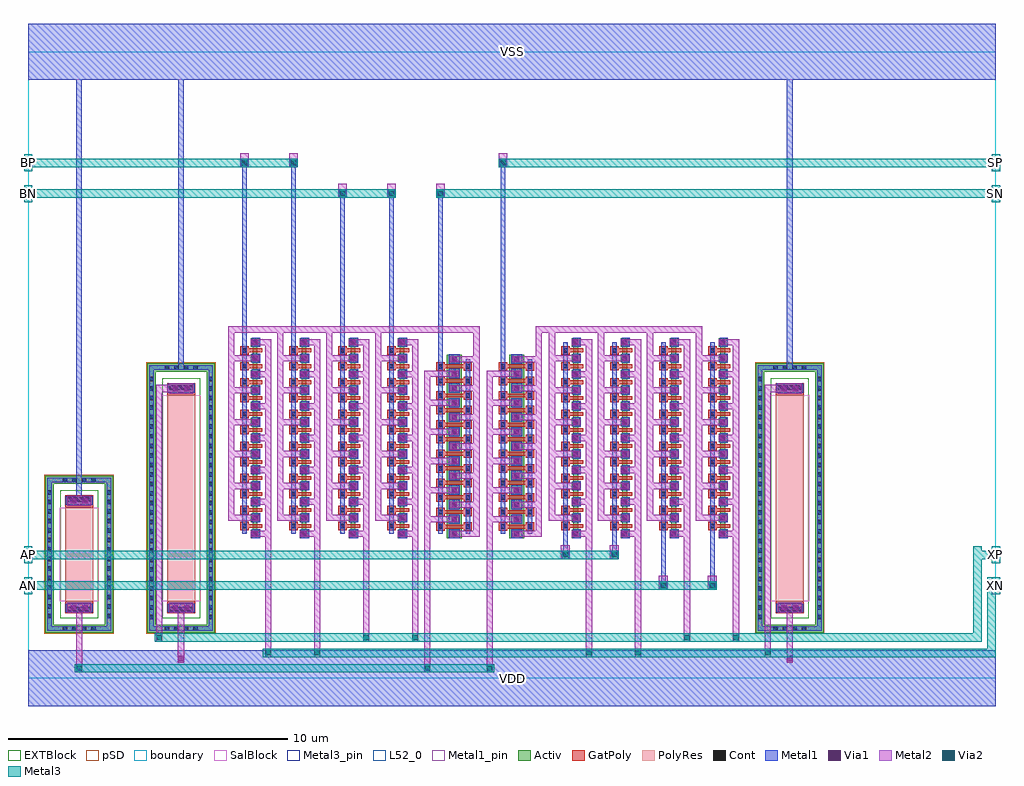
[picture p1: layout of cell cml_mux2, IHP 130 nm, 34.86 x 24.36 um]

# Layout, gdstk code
from math import pi, radians
import gdstk
lib = gdstk.Library(unit=1e-6, precision=1e-09)
def R(c, l, rs):  # rectangles x0, y0, x1, y1
    for r in rs: c.add(gdstk.rectangle(r[:2], r[2:], *l))
def A(c, l, x, y, w, h, nx, ny, dx, dy):  # array of equal rectangles
    R(c, l, [(x+i*dx, y+j*dy, x+i*dx+w, y+j*dy+h) for i in range(nx) for j in range(ny)])
Activ = (1, 0)
GatPoly = (5, 0)
Cont = (6, 0)
Metal1 = (8, 0)
Metal1_pin = (8, 2)
Metal2 = (10, 0)
pSD = (14, 0)
Via1 = (19, 0)
SalBlock = (28, 0)
Via2 = (29, 0)
Metal3 = (30, 0)
Metal3_pin = (30, 2)
L52_0 = (52, 0)
EXTBlock = (111, 0)
PolyRes = (128, 0)
boundary = (189, 4)

sg13_lv_nmos_gs4qvz = lib.new_cell('sg13_lv_nmos_GS4QVZ')
A(sg13_lv_nmos_gs4qvz, Activ, -3.57, -0.02, 0.3, 0.065, 13, 2, 0.57, 0.235)
R(sg13_lv_nmos_gs4qvz, Activ, [(-3.57,0.045,3.57,0.215)])
A(sg13_lv_nmos_gs4qvz, GatPoly, -3.285, -0.39, 0.3, 0.3, 12, 1, 0.57, 0)
A(sg13_lv_nmos_gs4qvz, GatPoly, -3.2, -0.09, 0.13, 0.485, 12, 1, 0.57, 0)
A(sg13_lv_nmos_gs4qvz, Cont, -3.215, -0.32, 0.16, 0.16, 12, 1, 0.57, 0)
A(sg13_lv_nmos_gs4qvz, Cont, -3.5, 0.05, 0.16, 0.16, 13, 1, 0.57, 0)
A(sg13_lv_nmos_gs4qvz, Metal1, -3.55, 0.05, 0.26, 0.16, 13, 1, 0.57, 0)
R(sg13_lv_nmos_gs4qvz, Metal1, [(-3.42,-0.32,3.42,-0.16)])
sg13_lv_nmos_gs4qvz.add(gdstk.Label('G', (3.135,-0.24), layer=8, texttype=25))
sg13_lv_nmos_gs4qvz.add(gdstk.Label('G', (2.565,-0.24), layer=8, texttype=25))
sg13_lv_nmos_gs4qvz.add(gdstk.Label('G', (1.995,-0.24), layer=8, texttype=25))
sg13_lv_nmos_gs4qvz.add(gdstk.Label('G', (1.425,-0.24), layer=8, texttype=25))
sg13_lv_nmos_gs4qvz.add(gdstk.Label('G', (0.855,-0.24), layer=8, texttype=25))
sg13_lv_nmos_gs4qvz.add(gdstk.Label('G', (0.285,-0.24), layer=8, texttype=25))
sg13_lv_nmos_gs4qvz.add(gdstk.Label('G', (-0.285,-0.24), layer=8, texttype=25))
sg13_lv_nmos_gs4qvz.add(gdstk.Label('G', (-0.855,-0.24), layer=8, texttype=25))
sg13_lv_nmos_gs4qvz.add(gdstk.Label('G', (-1.425,-0.24), layer=8, texttype=25))
sg13_lv_nmos_gs4qvz.add(gdstk.Label('G', (-1.995,-0.24), layer=8, texttype=25))
sg13_lv_nmos_gs4qvz.add(gdstk.Label('G', (-2.565,-0.24), layer=8, texttype=25))
sg13_lv_nmos_gs4qvz.add(gdstk.Label('G', (-3.135,-0.24), layer=8, texttype=25))
sg13_lv_nmos_gs4qvz.add(gdstk.Label('D0', (-3.42,0.13), layer=8, texttype=25))
sg13_lv_nmos_gs4qvz.add(gdstk.Label('S1', (-2.85,0.13), layer=8, texttype=25))
sg13_lv_nmos_gs4qvz.add(gdstk.Label('D2', (-2.28,0.13), layer=8, texttype=25))
sg13_lv_nmos_gs4qvz.add(gdstk.Label('S3', (-1.71,0.13), layer=8, texttype=25))
sg13_lv_nmos_gs4qvz.add(gdstk.Label('D4', (-1.14,0.13), layer=8, texttype=25))
sg13_lv_nmos_gs4qvz.add(gdstk.Label('S5', (-0.57,0.13), layer=8, texttype=25))
sg13_lv_nmos_gs4qvz.add(gdstk.Label('D6', (0,0.13), layer=8, texttype=25))
sg13_lv_nmos_gs4qvz.add(gdstk.Label('S7', (0.57,0.13), layer=8, texttype=25))
sg13_lv_nmos_gs4qvz.add(gdstk.Label('D8', (1.14,0.13), layer=8, texttype=25))
sg13_lv_nmos_gs4qvz.add(gdstk.Label('S9', (1.71,0.13), layer=8, texttype=25))
sg13_lv_nmos_gs4qvz.add(gdstk.Label('D10', (2.28,0.13), layer=8, texttype=25))
sg13_lv_nmos_gs4qvz.add(gdstk.Label('S11', (2.85,0.13), layer=8, texttype=25))

rppd_xr79a4 = lib.new_cell('rppd_XR79A4')
R(rppd_xr79a4, Activ, [(-1.21,-4.815,1.21,-4.515), (-1.21,-4.515,-0.91,4.515), (0.91,-4.515,1.21,4.515), (-1.21,4.515,1.21,4.815)])
R(rppd_xr79a4, GatPoly, [(-0.5,-4.105,0.5,-3.675), (-0.5,3.675,0.5,4.105)])
A(rppd_xr79a4, Cont, -0.59, -4.745, 0.16, 0.16, 4, 2, 0.34, 9.33)
A(rppd_xr79a4, Cont, -1.14, -4.33, 0.16, 0.16, 1, 26, 0, 0.34)
A(rppd_xr79a4, Cont, 0.98, -4.33, 0.16, 0.16, 1, 26, 0, 0.34)
R(rppd_xr79a4, Cont, [(-0.43,-4.035,0.43,-3.875), (-0.43,3.875,0.43,4.035)])
R(rppd_xr79a4, Metal1, [(-1.14,-4.745,1.14,-4.585), (-1.14,-4.585,-0.98,4.585), (0.98,-4.585,1.14,4.585), (-0.48,-4.085,0.48,-3.77), (-0.48,3.77,0.48,4.085), (-1.14,4.585,1.14,4.745)])
R(rppd_xr79a4, Metal2, [(-0.43,-4.1,0.43,-3.73), (-0.43,3.73,0.43,4.1)])
R(rppd_xr79a4, pSD, [(-1.24,-4.845,1.24,4.845)])
R(rppd_xr79a4, Via1, [(-0.3,-4.01,-0.11,-3.82), (0.11,-4.01,0.3,-3.82), (-0.3,3.82,-0.11,4.01), (0.11,3.82,0.3,4.01)])
R(rppd_xr79a4, SalBlock, [(-0.7,-3.675,0.7,3.675)])
R(rppd_xr79a4, L52_0, [(-0.5,-3.675,0.5,3.675)])
R(rppd_xr79a4, EXTBlock, [(-0.68,-4.285,0.68,4.285)])
R(rppd_xr79a4, PolyRes, [(-0.5,-3.675,0.5,3.675)])
R(rppd_xr79a4, boundary, [(-1.06,-4.665,1.06,4.665)])
rppd_xr79a4.add(gdstk.Label('B', (0,-4.665), layer=8, texttype=25))
rppd_xr79a4.add(gdstk.Label('R1', (0,3.955), layer=8, texttype=25))
rppd_xr79a4.add(gdstk.Label('R2', (0,-3.955), layer=8, texttype=25))

sg13_lv_nmos_3f3z24 = lib.new_cell('sg13_lv_nmos_3F3Z24')
R(sg13_lv_nmos_3f3z24, Activ, [(-3.27,-0.265,3.27,0.265)])
A(sg13_lv_nmos_3f3z24, GatPoly, -3.01, -0.635, 0.3, 0.3, 12, 2, 0.52, 0.97)
A(sg13_lv_nmos_3f3z24, GatPoly, -2.93, -0.335, 0.14, 0.67, 12, 1, 0.52, 0)
A(sg13_lv_nmos_3f3z24, Cont, -2.94, -0.565, 0.16, 0.16, 12, 2, 0.52, 0.97)
A(sg13_lv_nmos_3f3z24, Cont, -3.2, -0.08, 0.16, 0.16, 13, 1, 0.52, 0)
A(sg13_lv_nmos_3f3z24, Metal1, -3.25, -0.195, 0.26, 0.39, 13, 1, 0.52, 0)
R(sg13_lv_nmos_3f3z24, Metal1, [(-3.12,-0.565,3.12,-0.405), (-3.12,0.405,3.12,0.565)])
sg13_lv_nmos_3f3z24.add(gdstk.Label('G', (2.86,0.485), layer=8, texttype=25))
sg13_lv_nmos_3f3z24.add(gdstk.Label('G', (2.34,0.485), layer=8, texttype=25))
sg13_lv_nmos_3f3z24.add(gdstk.Label('G', (1.82,0.485), layer=8, texttype=25))
sg13_lv_nmos_3f3z24.add(gdstk.Label('G', (1.3,0.485), layer=8, texttype=25))
sg13_lv_nmos_3f3z24.add(gdstk.Label('G', (0.78,0.485), layer=8, texttype=25))
sg13_lv_nmos_3f3z24.add(gdstk.Label('G', (0.26,0.485), layer=8, texttype=25))
sg13_lv_nmos_3f3z24.add(gdstk.Label('G', (-0.26,0.485), layer=8, texttype=25))
sg13_lv_nmos_3f3z24.add(gdstk.Label('G', (-0.78,0.485), layer=8, texttype=25))
sg13_lv_nmos_3f3z24.add(gdstk.Label('G', (-1.3,0.485), layer=8, texttype=25))
sg13_lv_nmos_3f3z24.add(gdstk.Label('G', (-1.82,0.485), layer=8, texttype=25))
sg13_lv_nmos_3f3z24.add(gdstk.Label('G', (-2.34,0.485), layer=8, texttype=25))
sg13_lv_nmos_3f3z24.add(gdstk.Label('G', (-2.86,0.485), layer=8, texttype=25))
sg13_lv_nmos_3f3z24.add(gdstk.Label('D0', (-3.12,0), layer=8, texttype=25))
sg13_lv_nmos_3f3z24.add(gdstk.Label('S1', (-2.6,0), layer=8, texttype=25))
sg13_lv_nmos_3f3z24.add(gdstk.Label('D2', (-2.08,0), layer=8, texttype=25))
sg13_lv_nmos_3f3z24.add(gdstk.Label('S3', (-1.56,0), layer=8, texttype=25))
sg13_lv_nmos_3f3z24.add(gdstk.Label('D4', (-1.04,0), layer=8, texttype=25))
sg13_lv_nmos_3f3z24.add(gdstk.Label('S5', (-0.52,0), layer=8, texttype=25))
sg13_lv_nmos_3f3z24.add(gdstk.Label('D6', (0,0), layer=8, texttype=25))
sg13_lv_nmos_3f3z24.add(gdstk.Label('S7', (0.52,0), layer=8, texttype=25))
sg13_lv_nmos_3f3z24.add(gdstk.Label('D8', (1.04,0), layer=8, texttype=25))
sg13_lv_nmos_3f3z24.add(gdstk.Label('S9', (1.56,0), layer=8, texttype=25))
sg13_lv_nmos_3f3z24.add(gdstk.Label('D10', (2.08,0), layer=8, texttype=25))
sg13_lv_nmos_3f3z24.add(gdstk.Label('S11', (2.6,0), layer=8, texttype=25))

rppd_l5cc98 = lib.new_cell('rppd_L5CC98')
R(rppd_l5cc98, Activ, [(-1.21,-2.81,1.21,-2.51), (-1.21,-2.51,-0.91,2.51), (0.91,-2.51,1.21,2.51), (-1.21,2.51,1.21,2.81)])
R(rppd_l5cc98, GatPoly, [(-0.5,-2.1,0.5,-1.67), (-0.5,1.67,0.5,2.1)])
A(rppd_l5cc98, Cont, -0.59, -2.74, 0.16, 0.16, 4, 2, 0.34, 5.32)
A(rppd_l5cc98, Cont, -1.14, -2.29, 0.16, 0.16, 1, 14, 0, 0.34)
A(rppd_l5cc98, Cont, 0.98, -2.29, 0.16, 0.16, 1, 14, 0, 0.34)
R(rppd_l5cc98, Cont, [(-0.43,-2.03,0.43,-1.87), (-0.43,1.87,0.43,2.03)])
R(rppd_l5cc98, Metal1, [(-1.14,-2.74,1.14,-2.58), (-1.14,-2.58,-0.98,2.58), (0.98,-2.58,1.14,2.58), (-0.48,-2.08,0.48,-1.765), (-0.48,1.765,0.48,2.08), (-1.14,2.58,1.14,2.74)])
R(rppd_l5cc98, Metal2, [(-0.43,-2.095,0.43,-1.725), (-0.43,1.725,0.43,2.095)])
R(rppd_l5cc98, pSD, [(-1.24,-2.84,1.24,2.84)])
R(rppd_l5cc98, Via1, [(-0.3,-2.005,-0.11,-1.815), (0.11,-2.005,0.3,-1.815), (-0.3,1.815,-0.11,2.005), (0.11,1.815,0.3,2.005)])
R(rppd_l5cc98, SalBlock, [(-0.7,-1.67,0.7,1.67)])
R(rppd_l5cc98, L52_0, [(-0.5,-1.67,0.5,1.67)])
R(rppd_l5cc98, EXTBlock, [(-0.68,-2.28,0.68,2.28)])
R(rppd_l5cc98, PolyRes, [(-0.5,-1.67,0.5,1.67)])
R(rppd_l5cc98, boundary, [(-1.06,-2.66,1.06,2.66)])
rppd_l5cc98.add(gdstk.Label('B', (0,-2.66), layer=8, texttype=25))
rppd_l5cc98.add(gdstk.Label('R1', (0,1.95), layer=8, texttype=25))
rppd_l5cc98.add(gdstk.Label('R2', (0,-1.95), layer=8, texttype=25))

cml_mux2 = lib.new_cell('cml_mux2')
A(cml_mux2, Metal1, 7.99, 4.99, 0.29, 0.33, 4, 13, 1.75, 0.57)
A(cml_mux2, Metal1, 15.02, 4.99, 0.39, 0.33, 1, 13, 0, 0.52)
A(cml_mux2, Metal1, 17.25, 4.99, 0.39, 0.33, 1, 13, 0, 0.52)
A(cml_mux2, Metal1, 19.45, 4.99, 0.29, 0.33, 4, 13, 1.75, 0.57)
A(cml_mux2, Metal1, 11.11, 17.15, 0.23, 0.3, 3, 1, 1.75, 0)
R(cml_mux2, Metal1, [(0,-1,34.56,1), (22.57,3.15,22.8,3.45), (24.32,3.15,24.55,3.45), (22.61,3.45,22.77,5.2), (24.36,3.45,24.52,5.2), (19.07,4.25,19.3,4.55), (20.82,4.25,21.05,4.55), (19.11,4.55,19.27,5.2), (20.86,4.55,21.02,5.2), (1.72,6.24,1.92,21.36), (5.36,11.05,5.56,21.36), (27.1,11.05,27.3,21.36), (14.65,11.34,14.81,17.15), (16.88,11.34,17.04,18.25), (7.65,11.94,7.81,18.25), (9.4,11.94,9.56,18.25), (11.15,11.94,11.31,17.15), (12.9,11.94,13.06,17.15), (7.61,18.25,7.84,18.55), (9.36,18.25,9.59,18.55), (16.84,18.25,17.07,18.55), (0,21.36,34.56,23.36)])
R(cml_mux2, Metal1_pin, [(0,-1,34.56,1), (0,21.36,34.56,23.36)])
A(cml_mux2, Metal2, 7.95, 5.04, 0.73, 0.22, 4, 7, 1.75, 1.14)
A(cml_mux2, Metal2, 15.06, 5.04, 1.06, 0.22, 1, 7, 0, 1.04)
A(cml_mux2, Metal2, 17.29, 5.04, 1.06, 0.22, 1, 7, 0, 1.04)
A(cml_mux2, Metal2, 19.41, 5.04, 0.73, 0.22, 4, 7, 1.75, 1.14)
A(cml_mux2, Metal2, 8.46, 5.26, 0.22, 0.92, 4, 6, 1.75, 1.14)
A(cml_mux2, Metal2, 15.9, 5.26, 0.22, 0.82, 1, 6, 0, 1.04)
A(cml_mux2, Metal2, 18.13, 5.26, 0.22, 0.82, 1, 6, 0, 1.04)
A(cml_mux2, Metal2, 19.92, 5.26, 0.22, 0.92, 4, 6, 1.75, 1.14)
A(cml_mux2, Metal2, 14.14, 5.56, 1.23, 0.22, 1, 6, 0, 1.04)
A(cml_mux2, Metal2, 16.37, 5.56, 1.22, 0.22, 1, 6, 0, 1.04)
A(cml_mux2, Metal2, 7.14, 5.61, 1.11, 0.22, 4, 6, 1.75, 1.14)
A(cml_mux2, Metal2, 18.6, 5.61, 1.11, 0.22, 4, 6, 1.75, 1.14)
A(cml_mux2, Metal2, 14.14, 5.78, 0.22, 0.82, 1, 5, 0, 1.04)
A(cml_mux2, Metal2, 16.37, 5.78, 0.22, 0.82, 1, 5, 0, 1.04)
A(cml_mux2, Metal2, 7.14, 5.83, 0.22, 0.92, 4, 5, 1.75, 1.14)
A(cml_mux2, Metal2, 18.6, 5.83, 0.22, 0.92, 4, 5, 1.75, 1.14)
A(cml_mux2, Metal2, 7.14, 11.53, 0.22, 0.81, 4, 1, 1.75, 0)
A(cml_mux2, Metal2, 18.6, 11.53, 0.22, 0.81, 4, 1, 1.75, 0)
A(cml_mux2, Metal2, 11.07, 17.15, 0.31, 0.5, 3, 1, 1.75, 0)
R(cml_mux2, Metal2, [(1.71,0.2,1.93,2.6), (14.14,0.2,14.36,5.56), (16.37,0.2,16.59,5.56), (5.35,0.55,5.57,2.6), (27.09,0.55,27.31,2.6), (8.46,0.75,8.68,5.04), (10.21,0.75,10.43,5.04), (19.92,0.75,20.14,5.04), (21.67,0.75,21.89,5.04), (26.31,0.75,26.53,10.2), (4.57,1.3,4.79,10.2), (11.96,1.3,12.18,5.04), (13.71,1.3,13.93,5.04), (23.42,1.3,23.64,5.04), (25.17,1.3,25.39,5.04), (22.53,3.15,22.84,3.65), (24.28,3.15,24.59,3.65), (19.03,4.25,19.34,4.75), (20.78,4.25,21.09,4.75), (4.57,10.2,5.89,10.48), (26.31,10.2,27.63,10.48), (15.9,11.5,16.12,12.34), (18.13,11.5,18.35,12.34), (7.14,12.34,16.12,12.56), (18.13,12.34,24.07,12.56), (7.57,18.25,7.88,18.75), (9.32,18.25,9.63,18.75), (16.8,18.25,17.11,18.75)])
A(cml_mux2, Via1, 8.005, 5.055, 0.19, 0.19, 4, 13, 1.75, 0.57)
A(cml_mux2, Via1, 15.12, 5.055, 0.19, 0.19, 1, 13, 0, 0.52)
A(cml_mux2, Via1, 17.35, 5.055, 0.19, 0.19, 1, 13, 0, 0.52)
A(cml_mux2, Via1, 19.465, 5.055, 0.19, 0.19, 4, 13, 1.75, 0.57)
A(cml_mux2, Via1, 11.135, 17.205, 0.19, 0.19, 3, 1, 1.75, 0)
R(cml_mux2, Via1, [(5.365,0.605,5.555,0.795), (27.105,0.605,27.295,0.795), (22.595,3.205,22.785,3.395), (24.345,3.205,24.535,3.395), (19.095,4.305,19.285,4.495), (20.845,4.305,21.035,4.495), (7.635,18.305,7.825,18.495), (9.385,18.305,9.575,18.495), (16.865,18.305,17.055,18.495)])
A(cml_mux2, Via2, 11.135, 17.205, 0.19, 0.19, 3, 1, 1.75, 0)
R(cml_mux2, Via2, [(1.725,0.255,1.915,0.445), (14.155,0.255,14.345,0.445), (16.385,0.255,16.575,0.445), (8.475,0.805,8.665,0.995), (10.225,0.805,10.415,0.995), (19.935,0.805,20.125,0.995), (21.685,0.805,21.875,0.995), (26.325,0.805,26.515,0.995), (4.585,1.355,4.775,1.545), (11.975,1.355,12.165,1.545), (13.725,1.355,13.915,1.545), (23.435,1.355,23.625,1.545), (25.185,1.355,25.375,1.545), (22.595,3.205,22.785,3.395), (24.345,3.205,24.535,3.395), (19.095,4.305,19.285,4.495), (20.845,4.305,21.035,4.495), (7.635,18.305,7.825,18.495), (9.385,18.305,9.575,18.495), (16.865,18.305,17.055,18.495)])
R(cml_mux2, Metal3, [(1.66,0.2,16.64,0.5), (8.37,0.75,34.56,1.05), (34.26,1.05,34.56,3), (4.52,1.3,34.05,1.6), (33.75,1.6,34.05,4.25), (-0.15,3,0.15,3.15), (34.26,3,34.71,3.6), (-0.15,3.15,24.59,3.45), (-0.15,3.45,0.15,3.6), (-0.15,4.1,0.15,4.25), (34.41,4.1,34.71,4.25), (-0.15,4.25,21.09,4.55), (33.75,4.25,34.71,4.55), (-0.15,4.55,0.15,4.7), (33.75,4.55,34.05,4.7), (34.41,4.55,34.71,4.7), (-0.15,17,0.15,17.15), (34.41,17,34.71,17.15), (-0.15,17.15,13.13,17.45), (14.57,17.15,34.71,17.45), (-0.15,17.45,0.15,17.6), (34.41,17.45,34.71,17.6), (-0.15,18.1,0.15,18.25), (34.41,18.1,34.71,18.25), (-0.15,18.25,9.63,18.55), (16.8,18.25,34.71,18.55), (-0.15,18.55,0.15,18.7), (34.41,18.55,34.71,18.7)])
R(cml_mux2, Metal3_pin, [(-0.15,3,0.15,3.6), (34.41,3,34.71,3.6), (-0.15,4.1,0.15,4.7), (34.41,4.1,34.71,4.7), (-0.15,17,0.15,17.6), (34.41,17,34.71,17.6), (-0.15,18.1,0.15,18.7), (34.41,18.1,34.71,18.7)])
R(cml_mux2, boundary, [(0,0,34.56,22.36)])
cml_mux2.add(gdstk.Reference(sg13_lv_nmos_gs4qvz, (13.22,8.57), rotation=3*pi/2))
cml_mux2.add(gdstk.Reference(sg13_lv_nmos_gs4qvz, (11.47,8.57), rotation=3*pi/2))
cml_mux2.add(gdstk.Reference(sg13_lv_nmos_gs4qvz, (9.72,8.57), rotation=3*pi/2))
cml_mux2.add(gdstk.Reference(sg13_lv_nmos_gs4qvz, (7.97,8.57), rotation=3*pi/2))
cml_mux2.add(gdstk.Reference(sg13_lv_nmos_gs4qvz, (24.68,8.57), rotation=3*pi/2))
cml_mux2.add(gdstk.Reference(sg13_lv_nmos_gs4qvz, (22.93,8.57), rotation=3*pi/2))
cml_mux2.add(gdstk.Reference(sg13_lv_nmos_gs4qvz, (21.18,8.57), rotation=3*pi/2))
cml_mux2.add(gdstk.Reference(sg13_lv_nmos_gs4qvz, (19.43,8.57), rotation=3*pi/2))
cml_mux2.add(gdstk.Reference(rppd_xr79a4, (5.46,6.425), rotation=pi))
cml_mux2.add(gdstk.Reference(rppd_xr79a4, (27.2,6.425), rotation=pi))
cml_mux2.add(gdstk.Reference(sg13_lv_nmos_3f3z24, (17.445,8.27), rotation=3*pi/2))
cml_mux2.add(gdstk.Reference(sg13_lv_nmos_3f3z24, (15.215,8.27), rotation=3*pi/2))
cml_mux2.add(gdstk.Reference(rppd_l5cc98, (1.82,4.42), rotation=pi))
cml_mux2.add(gdstk.Label('VDD', (17.28,0), layer=8, texttype=25))
cml_mux2.add(gdstk.Label('VSS', (17.28,22.36), layer=8, texttype=25))
cml_mux2.add(gdstk.Label('AN', (0,3.3), layer=30, texttype=25))
cml_mux2.add(gdstk.Label('AP', (0,4.4), layer=30, texttype=25))
cml_mux2.add(gdstk.Label('XN', (34.56,3.3), layer=30, texttype=25))
cml_mux2.add(gdstk.Label('XP', (34.56,4.4), layer=30, texttype=25))
cml_mux2.add(gdstk.Label('BN', (0,17.3), layer=30, texttype=25))
cml_mux2.add(gdstk.Label('BP', (0,18.4), layer=30, texttype=25))
cml_mux2.add(gdstk.Label('SN', (34.56,17.3), layer=30, texttype=25))
cml_mux2.add(gdstk.Label('SP', (34.56,18.4), layer=30, texttype=25))

lib.write_gds('cml_mux2.gds')
